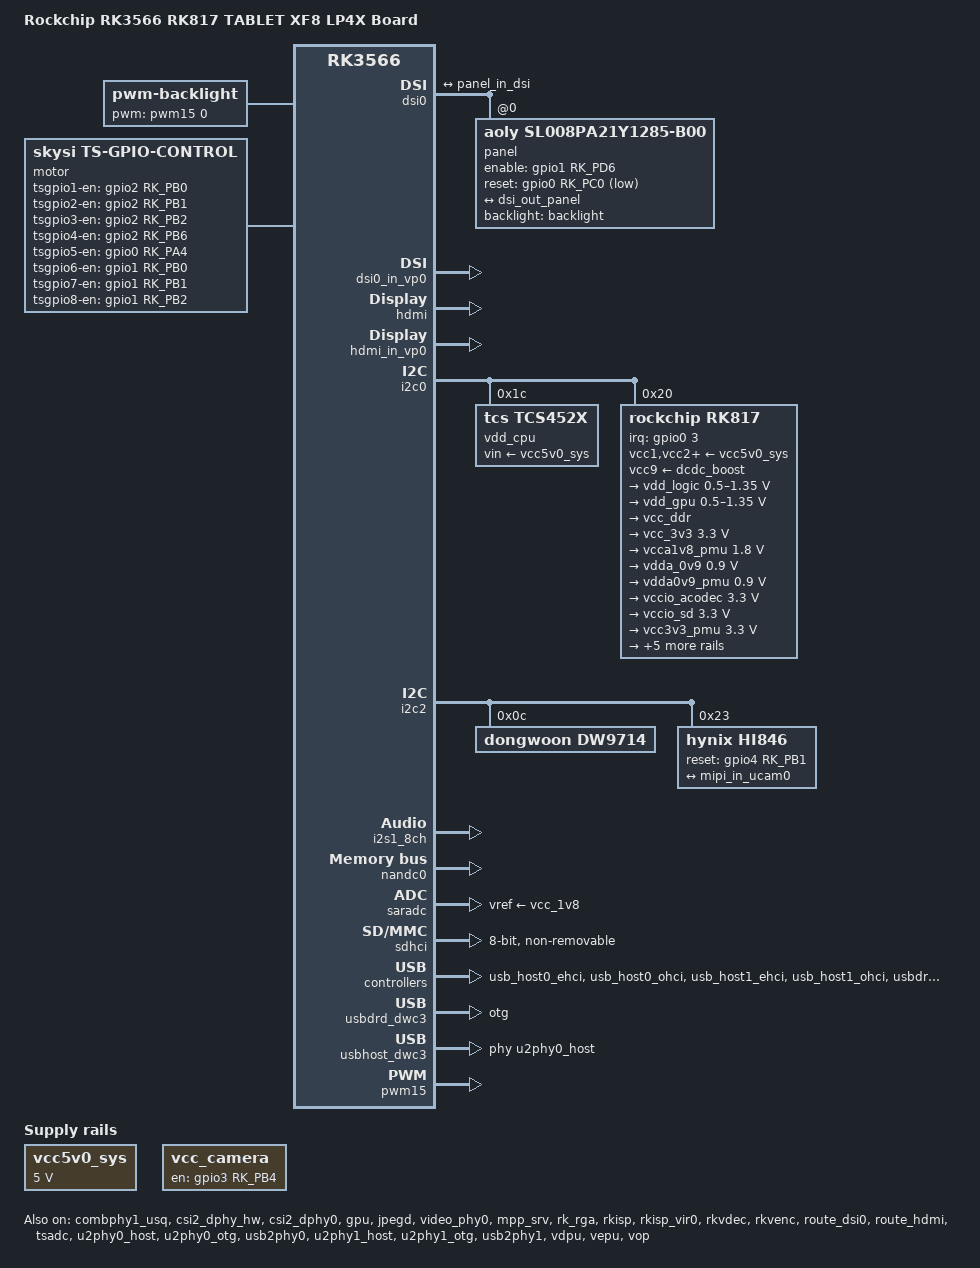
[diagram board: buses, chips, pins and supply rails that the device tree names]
// SPDX-License-Identifier: (GPL-2.0+ OR MIT)
/*
 * Copyright (c) 2020 Rockchip Electronics Co., Ltd.
 *
 */

/dts-v1/;

#include <dt-bindings/gpio/gpio.h>
#include <dt-bindings/pinctrl/rockchip.h>
#include <dt-bindings/input/rk-input.h>
#include <dt-bindings/sensor-dev.h>
#include <dt-bindings/display/drm_mipi_dsi.h>
#include "rk3566.dtsi"
#include "rk3568-android.dtsi"

/ {
	model = "Rockchip RK3566 RK817 TABLET XF8 LP4X Board";
	compatible = "rockchip,rk3566-rk817-tablet-xf8", "rockchip,rk3566";


	backlight: backlight {
		compatible = "pwm-backlight";
		pwms = <&pwm15 0 25000 0>;
		brightness-levels = <
			  0  20  20  21  21  22  22  23
			 23  24  24  25  25  26  26  27
			 27  28  28  29  29  30  30  31
			 31  32  32  33  33  34  34  35
			 35  36  36  37  37  38  38  39
			 40  41  42  43  44  45  46  47
			 48  49  50  51  52  53  54  55
			 56  57  58  59  60  61  62  63
			 64  65  66  67  68  69  70  71
			 72  73  74  75  76  77  78  79
			 80  81  82  83  84  85  86  87
			 88  89  90  91  92  93  94  95
			 96  97  98  99 100 101 102 103
			104 105 106 107 108 109 110 111
			112 113 114 115 116 117 118 119
			120 121 122 123 124 125 126 127
			128 129 130 131 132 133 134 135
			136 137 138 139 140 141 142 143
			144 145 146 147 148 149 150 151
			152 153 154 155 156 157 158 159
			160 161 162 163 164 165 166 167
			168 169 170 171 172 173 174 175
			176 177 178 179 180 181 182 183
			184 185 186 187 188 189 190 191
			192 193 194 195 196 197 198 199
			200 201 202 203 204 205 206 207
			208 209 210 211 212 213 214 215
			216 217 218 219 220 221 222 223
			224 225 226 227 228 229 230 231
			232 233 234 235 236 237 238 239
			240 241 242 243 244 245 246 247
			248 249 250 251 252 253 254 255
		>;
		default-brightness-level = <200>;
	};

	

	charge-animation {
		compatible = "rockchip,uboot-charge";
		rockchip,uboot-charge-on = <1>;
		rockchip,android-charge-on = <0>;
		rockchip,uboot-low-power-voltage = <3350>;
		rockchip,screen-on-voltage = <3400>;
		status = "disabled";
	};
      

	hdmi_sound: hdmi-sound {
		compatible = "simple-audio-card";
		simple-audio-card,format = "i2s";
		simple-audio-card,mclk-fs = <128>;
		simple-audio-card,name = "rockchip,hdmi";
		status = "okay";

		simple-audio-card,cpu {
				sound-dai = <&i2s0_8ch>;
		};
		simple-audio-card,codec {
				sound-dai = <&hdmi>;
		};
	};

	vcc5v0_sys: vcc5v0-sys {
		compatible = "regulator-fixed";
		regulator-name = "vcc5v0_sys";
		regulator-always-on;
		regulator-boot-on;
		regulator-min-microvolt = <5000000>;
		regulator-max-microvolt = <5000000>;
	};
      
	vcc_camera: vcc-camera-regulator {
		compatible = "regulator-fixed";
		gpio = <&gpio3 RK_PB4 GPIO_ACTIVE_HIGH>;
		pinctrl-names = "default";
		pinctrl-0 = <&camera_power>;
		regulator-name = "vcc_camera";
		enable-active-high;
		regulator-always-on;
		regulator-boot-on;
	};  

	rk817-sound {
		compatible = "simple-audio-card";
		simple-audio-card,format = "i2s";
		simple-audio-card,name = "rockchip,rk817-codec";
		simple-audio-card,mclk-fs = <256>;

		simple-audio-card,cpu {
			sound-dai = <&i2s1_8ch>;
		};
		simple-audio-card,codec {
			sound-dai = <&rk817_codec>;
		};
	};
	motor: pwm-motor{
	    status = "okay";
	    compatible = "skysi, ts-gpio-control";
		pinctrl-names = "default";
		pinctrl-0 = <&pinctrl_motor>;
		
		tsgpio1-en-gpios = <&gpio2 RK_PB0 GPIO_ACTIVE_HIGH>;    
		tsgpio2-en-gpios = <&gpio2 RK_PB1 GPIO_ACTIVE_HIGH>;   
		tsgpio3-en-gpios = <&gpio2 RK_PB2 GPIO_ACTIVE_HIGH>;    
		tsgpio4-en-gpios = <&gpio2 RK_PB6 GPIO_ACTIVE_HIGH>;    
		tsgpio5-en-gpios = <&gpio0 RK_PA4 GPIO_ACTIVE_HIGH>;  
		tsgpio6-en-gpios = <&gpio1 RK_PB0 GPIO_ACTIVE_HIGH>;    
		tsgpio7-en-gpios = <&gpio1 RK_PB1 GPIO_ACTIVE_HIGH>; 
		tsgpio8-en-gpios = <&gpio1 RK_PB2 GPIO_ACTIVE_HIGH>; 
		tsgpio9-en-gpios = <&gpio1 RK_PA0 GPIO_ACTIVE_HIGH>; 
		tsgpio10-en-gpios = <&gpio1 RK_PA1 GPIO_ACTIVE_HIGH>; 
		tsgpio11-en-gpios = <&gpio3 RK_PA2 GPIO_ACTIVE_HIGH>; 
		tsgpio12-en-gpios = <&gpio3 RK_PA3 GPIO_ACTIVE_HIGH>; 
		tsgpio13-en-gpios = <&gpio3 RK_PA4 GPIO_ACTIVE_HIGH>; 
		tsgpio14-en-gpios = <&gpio3 RK_PA5 GPIO_ACTIVE_HIGH>; 
		tsgpio15-en-gpios = <&gpio3 RK_PA6 GPIO_ACTIVE_HIGH>; 
		tsgpio16-en-gpios = <&gpio3 RK_PA7 GPIO_ACTIVE_HIGH>; 
		tsgpio17-en-gpios = <&gpio3 RK_PB0 GPIO_ACTIVE_HIGH>; 
		tsgpio18-en-gpios = <&gpio3 RK_PB1 GPIO_ACTIVE_HIGH>; 
		tsgpio19-en-gpios = <&gpio3 RK_PB2 GPIO_ACTIVE_HIGH>; 
		tsgpio20-en-gpios = <&gpio3 RK_PB5 GPIO_ACTIVE_HIGH>; 
		tsgpio21-en-gpios = <&gpio3 RK_PB6 GPIO_ACTIVE_HIGH>; 
		tsgpio22-en-gpios = <&gpio3 RK_PC0 GPIO_ACTIVE_HIGH>; 
		tsgpio23-en-gpios = <&gpio3 RK_PC1 GPIO_ACTIVE_HIGH>; 
		tsgpio24-en-gpios = <&gpio3 RK_PC2 GPIO_ACTIVE_HIGH>; 
		tsgpio25-en-gpios = <&gpio3 RK_PC3 GPIO_ACTIVE_HIGH>; 
		tsgpio26-en-gpios = <&gpio3 RK_PC6 GPIO_ACTIVE_HIGH>; 
		tsgpio27-en-gpios = <&gpio3 RK_PC7 GPIO_ACTIVE_HIGH>; 
		tsgpio28-en-gpios = <&gpio3 RK_PD0 GPIO_ACTIVE_HIGH>; 
		tsgpio29-en-gpios = <&gpio3 RK_PD1 GPIO_ACTIVE_HIGH>; 
		tsgpio30-en-gpios = <&gpio3 RK_PD2 GPIO_ACTIVE_HIGH>; 
		tsgpio31-en-gpios = <&gpio3 RK_PD3 GPIO_ACTIVE_HIGH>; 
		tsgpio32-en-gpios = <&gpio3 RK_PD4 GPIO_ACTIVE_HIGH>; 
		tsgpio33-en-gpios = <&gpio3 RK_PD5 GPIO_ACTIVE_HIGH>; 
		tsgpio34-en-gpios = <&gpio3 RK_PD6 GPIO_ACTIVE_HIGH>; 
		tsgpio35-en-gpios = <&gpio3 RK_PD7 GPIO_ACTIVE_HIGH>; 
		tsgpio36-en-gpios = <&gpio4 RK_PA0 GPIO_ACTIVE_HIGH>; 
		tsgpio37-en-gpios = <&gpio4 RK_PA1 GPIO_ACTIVE_HIGH>; 
		tsgpio38-en-gpios = <&gpio4 RK_PA2 GPIO_ACTIVE_HIGH>; 
		tsgpio39-en-gpios = <&gpio4 RK_PA3 GPIO_ACTIVE_HIGH>; 
		tsgpio40-en-gpios = <&gpio4 RK_PA4 GPIO_ACTIVE_HIGH>; 
		tsgpio41-en-gpios = <&gpio4 RK_PA5 GPIO_ACTIVE_HIGH>; 
		tsgpio42-en-gpios = <&gpio4 RK_PA6 GPIO_ACTIVE_HIGH>; 
		tsgpio43-en-gpios = <&gpio4 RK_PB0 GPIO_ACTIVE_HIGH>; 
		tsgpio44-en-gpios = <&gpio4 RK_PB2 GPIO_ACTIVE_HIGH>; 
		tsgpio45-en-gpios = <&gpio4 RK_PB3 GPIO_ACTIVE_HIGH>; 
        tsgpio46-en-gpios = <&gpio4 RK_PB6 GPIO_ACTIVE_HIGH>; 
		tsgpio47-en-gpios = <&gpio4 RK_PB7 GPIO_ACTIVE_HIGH>; 
		tsgpio48-en-gpios = <&gpio4 RK_PC0 GPIO_ACTIVE_HIGH>; 
		tsgpio49-en-gpios = <&gpio4 RK_PC1 GPIO_ACTIVE_HIGH>; 
		tsgpio50-en-gpios = <&gpio4 RK_PC2 GPIO_ACTIVE_HIGH>; 
		tsgpio51-en-gpios = <&gpio4 RK_PC3 GPIO_ACTIVE_HIGH>; 
        tsgpio52-en-gpios = <&gpio4 RK_PC4 GPIO_ACTIVE_HIGH>; 
		tsgpio53-en-gpios = <&gpio4 RK_PC5 GPIO_ACTIVE_HIGH>; 
		tsgpio54-en-gpios = <&gpio4 RK_PC6 GPIO_ACTIVE_HIGH>; 
		tsgpio55-en-gpios = <&gpio2 RK_PA3 GPIO_ACTIVE_HIGH>; 
		tsgpio56-en-gpios = <&gpio2 RK_PA4 GPIO_ACTIVE_HIGH>; 
        tsgpio57-en-gpios = <&gpio2 RK_PA5 GPIO_ACTIVE_HIGH>; 
		tsgpio58-en-gpios = <&gpio2 RK_PA6 GPIO_ACTIVE_HIGH>; 
		tsgpio59-en-gpios = <&gpio2 RK_PA7 GPIO_ACTIVE_HIGH>; 
		tsgpio60-en-gpios = <&gpio2 RK_PB3 GPIO_ACTIVE_HIGH>; 
        tsgpio61-en-gpios = <&gpio2 RK_PB4 GPIO_ACTIVE_HIGH>; 
		tsgpio62-en-gpios = <&gpio2 RK_PB5 GPIO_ACTIVE_HIGH>; 
		tsgpio63-en-gpios = <&gpio2 RK_PB7 GPIO_ACTIVE_HIGH>; 
		tsgpio64-en-gpios = <&gpio2 RK_PC1 GPIO_ACTIVE_HIGH>; 
		tsgpio65-en-gpios = <&gpio2 RK_PC2 GPIO_ACTIVE_HIGH>; 
        tsgpio66-en-gpios = <&gpio2 RK_PC3 GPIO_ACTIVE_HIGH>; 
		tsgpio67-en-gpios = <&gpio2 RK_PC4 GPIO_ACTIVE_HIGH>; 
		tsgpio68-en-gpios = <&gpio2 RK_PC5 GPIO_ACTIVE_HIGH>; 
		tsgpio69-en-gpios = <&gpio1 RK_PD7 GPIO_ACTIVE_HIGH>; 
		tsgpio70-en-gpios = <&gpio2 RK_PA0 GPIO_ACTIVE_HIGH>; 
		tsgpio71-en-gpios = <&gpio2 RK_PA1 GPIO_ACTIVE_HIGH>; 
		tsgpio72-en-gpios = <&gpio2 RK_PA2 GPIO_ACTIVE_HIGH>; 
	};
};

&combphy1_usq {
	rockchip,dis-u3otg1-port;
	status = "okay";
};

&cpu0 {
	cpu-supply = <&vdd_cpu>;
};

&csi2_dphy_hw {
	status = "okay";
};

&csi2_dphy0 {
	status = "okay";

	ports {
		#address-cells = <1>;
		#size-cells = <0>;
		port@0 {
			reg = <0>;
			#address-cells = <1>;
			#size-cells = <0>;

			mipi_in_ucam0: endpoint@0 {
				reg = <0>;
				remote-endpoint = <&hi846_out>;
				data-lanes = <1 2 3 4>;
			};
		};
		port@1 {
			reg = <1>;
			#address-cells = <1>;
			#size-cells = <0>;

			csidphy0_out: endpoint@0 {
				reg = <0>;
				remote-endpoint = <&isp0_in>;
			};
		};
	};
};

&dsi0 {
	status = "okay";
	rockchip,lane-rate = <1000>;
	panel@0 {
		compatible = "aoly,sl008pa21y1285-b00", "simple-panel-dsi";
		reg = <0>;

		backlight = <&backlight>;
		
		enable-gpios = <&gpio1 RK_PD6 GPIO_ACTIVE_HIGH>;
		
		reset-gpios = <&gpio0 RK_PC0 GPIO_ACTIVE_LOW>;

		pinctrl-names = "default";
		pinctrl-0 = <&lcd_enable_gpio>, <&lcd_rst_gpio>; // <&lcd_stanby_gpio>

		prepare-delay-ms = <120>;
		reset-delay-ms = <120>;
		init-delay-ms = <120>;
		stbyb-delay-ms = <120>;
		enable-delay-ms = <120>;
		disable-delay-ms = <120>;
		unprepare-delay-ms = <120>;

		width-mm = <229>;
		height-mm = <143>;

		dsi,flags = <(MIPI_DSI_MODE_VIDEO | MIPI_DSI_MODE_VIDEO_BURST |
			      MIPI_DSI_MODE_LPM | MIPI_DSI_MODE_EOT_PACKET)>;
		dsi,format = <MIPI_DSI_FMT_RGB888>;
		dsi,lanes = <4>;

		panel-init-sequence = [
			39 00 04 B9 F1 12 87
			39 00 04 B2 68 13 78
			39 00 0B B3 10 10 28 28 03 FF 00 00 00 00
			39 00 02 B4 80
			39 00 03 B5 08 08
			39 00 03 B6 7D 7D
			39 00 02 B8 75
			39 00 1C BA 33 81 05 F9 0E 0E 20 00 00 00 00 00 00 00 44 25 00 91 0A 00 00 01 4F 01 00 00 37
			39 00 02 BC 47
			39 00 04 BF 02 11 00
			39 00 0A C0 73 73 50 50 00 00 12 73 00
			39 00 12 C1 25 00 32 32 77 E1 77 77 CC CC FF FF 11 11 00 00 32
			39 00 0D C7 B0 00 0A 00 00 00 00 80 EC 47 00 5A
			39 00 05 C8 01 00 1E 43
			39 00 02 CC 0B
			39 00 03 D1 01 10
			39 00 23 E0 00 0A 0D 26 36 3F 42 35 08 0B 0C 13 14 13 14 11 18 00 0A 0D 26 36 3F 42 35 08 0B 0C 13 14 13 14 11 18
			39 00 08 E1 11 11 91 00 00 00 00
			39 00 0F E3 03 03 03 03 00 03 00 00 00 00 FF 84 C0 10
			39 00 40 E9 C8 10 08 00 00 A0 51 12 31 23 47 86 A0 51 47 08 00 00 60 00 00 00 00 00 60 00 00 00 88 88 80 2F 88 88 88 88 8F 46 02 88 88 81 3F 88 88 88 88 8F 57 13 00 00 00 00 00 00 00 00 00 00 00 00 00
			39 00 3E EA 00 1A 00 00 00 00 02 00 00 00 00 00 8F 88 83 18 88 88 88 88 8F 31 75 8F 88 82 08 88 88 88 88 8F 20 64 23 10 00 00 A8 00 00 00 00 00 00 00 00 00 00 00 00 00 00 00 00 00 00 00 00 00 00
			
			05 78 01 11
			05 32 01 29
		];

		panel-exit-sequence = [
			05 dc 01 28
			05 78 01 10
		];

		display-timings {
			native-mode = <&timing0>;

			timing0: timing0 {
				clock-frequency = <75000000>;
				hactive = <720>;
				vactive = <1440>;

				hsync-len = <20>;//19
				hback-porch = <55>;//40
				hfront-porch = <50>;//123

				vsync-len = <6>;
				vback-porch = <14>;
				vfront-porch = <17>;

				hsync-active = <0>;
				vsync-active = <0>;
				de-active = <0>;
				pixelclk-active = <0>;
			};
		};

		ports {
			#address-cells = <1>;
			#size-cells = <0>;

			port@0 {
				reg = <0>;
				panel_in_dsi: endpoint {
					remote-endpoint = <&dsi_out_panel>;
				};
			};
		};
	};

	ports {
		#address-cells = <1>;
		#size-cells = <0>;

		port@1 {
			reg = <1>;
			dsi_out_panel: endpoint {
				remote-endpoint = <&panel_in_dsi>;
			};
		};
	};

};

&dsi0_in_vp0 {
	status = "okay";
};

&dsi0_in_vp1 {
	status = "disabled";
};

&gpu {
	mali-supply = <&vdd_gpu>;
	status = "okay";
};

&hdmi {
	status = "okay";
};

&hdmi_in_vp0 {
	status = "okay";
};

&hdmi_in_vp1 {
	status = "disabled";
};

&hdmi_sound {
	status = "disabled";
};


&i2c0 {
	status = "okay";

	vdd_cpu: tcs4525@1c {
		compatible = "tcs,tcs452x";
		reg = <0x1c>;
		vin-supply = <&vcc5v0_sys>;
		regulator-compatible = "fan53555-reg";
		regulator-name = "vdd_cpu";
		regulator-min-microvolt = <712500>;
		regulator-max-microvolt = <1390000>;
		regulator-init-microvolt = <900000>;
		regulator-ramp-delay = <2300>;
		fcs,suspend-voltage-selector = <1>;
		regulator-boot-on;
		regulator-always-on;
		regulator-state-mem {
			regulator-off-in-suspend;
		};
	};

	rk817: pmic@20 {
		compatible = "rockchip,rk817";
		reg = <0x20>;
		interrupt-parent = <&gpio0>;
		interrupts = <3 IRQ_TYPE_LEVEL_LOW>;

		//pinctrl-names = "default", "pmic-sleep",
		//		"pmic-power-off", "pmic-reset";
		
		pinctrl-names = "default";
		
		

		pinctrl-0 = <&pmic_int>;
		//pinctrl-1 = <&soc_slppin_slp>, <&rk817_slppin_slp>;
		//pinctrl-2 = <&soc_slppin_gpio>, <&rk817_slppin_pwrdn>;
		//pinctrl-3 = <&soc_slppin_gpio>, <&rk817_slppin_rst>;
		rockchip,system-power-controller;
		wakeup-source;
		#clock-cells = <1>;
		clock-output-names = "rk808-clkout1", "rk808-clkout2";
		//fb-inner-reg-idxs = <2>;
		/* 1: rst regs (default in codes), 0: rst the pmic */
		pmic-reset-func = <0>;

		vcc1-supply = <&vcc5v0_sys>;
		vcc2-supply = <&vcc5v0_sys>;
		vcc3-supply = <&vcc5v0_sys>;
		vcc4-supply = <&vcc5v0_sys>;
		vcc5-supply = <&vcc5v0_sys>;
		vcc6-supply = <&vcc5v0_sys>;
		vcc7-supply = <&vcc5v0_sys>;
		vcc8-supply = <&vcc5v0_sys>;
		vcc9-supply = <&dcdc_boost>;

		pwrkey {
			status = "okay";
		};

		pinctrl_rk8xx: pinctrl_rk8xx {
			gpio-controller;
			#gpio-cells = <2>;

			rk817_slppin_null: rk817_slppin_null {
				pins = "gpio_slp";
				function = "pin_fun0";
			};

			rk817_slppin_slp: rk817_slppin_slp {
				pins = "gpio_slp";
				function = "pin_fun1";
			};

			rk817_slppin_pwrdn: rk817_slppin_pwrdn {
				pins = "gpio_slp";
				function = "pin_fun2";
			};

			rk817_slppin_rst: rk817_slppin_rst {
				pins = "gpio_slp";
				function = "pin_fun3";
			};
		};

		regulators {
			vdd_logic: DCDC_REG1 {
				regulator-always-on;
				regulator-boot-on;
				regulator-min-microvolt = <500000>;
				regulator-max-microvolt = <1350000>;
				regulator-init-microvolt = <900000>;
				regulator-ramp-delay = <6001>;
				regulator-initial-mode = <0x2>;
				regulator-name = "vdd_logic";
				regulator-state-mem {
					regulator-off-in-suspend;
					regulator-suspend-microvolt = <900000>;
				};
			};

			vdd_gpu: DCDC_REG2 {
				regulator-always-on;
				regulator-boot-on;
				regulator-min-microvolt = <500000>;
				regulator-max-microvolt = <1350000>;
				regulator-init-microvolt = <900000>;
				regulator-ramp-delay = <6001>;
				regulator-initial-mode = <0x2>;
				regulator-name = "vdd_gpu";
				regulator-state-mem {
					regulator-off-in-suspend;
				};
			};

			vcc_ddr: DCDC_REG3 {
				regulator-always-on;
				regulator-boot-on;
				regulator-initial-mode = <0x2>;
				regulator-name = "vcc_ddr";
				regulator-state-mem {
					regulator-on-in-suspend;
				};
			};

			vcc_3v3: DCDC_REG4 {
				regulator-always-on;
				regulator-boot-on;
				regulator-min-microvolt = <3300000>;
				regulator-max-microvolt = <3300000>;
				regulator-initial-mode = <0x2>;
				regulator-name = "vcc_3v3";
				regulator-state-mem {
					regulator-off-in-suspend;
				};
			};

			vcca1v8_pmu: LDO_REG1 {
				regulator-always-on;
				regulator-boot-on;
				regulator-min-microvolt = <1800000>;
				regulator-max-microvolt = <1800000>;
				regulator-name = "vcca1v8_pmu";
				regulator-state-mem {
					regulator-on-in-suspend;
					regulator-suspend-microvolt = <1800000>;
				};
			};

			vdda_0v9: LDO_REG2 {
				regulator-always-on;
				regulator-boot-on;
				regulator-min-microvolt = <900000>;
				regulator-max-microvolt = <900000>;
				regulator-name = "vdda_0v9";
				regulator-state-mem {
					regulator-off-in-suspend;
				};
			};

			vdda0v9_pmu: LDO_REG3 {
				regulator-always-on;
				regulator-boot-on;
				regulator-min-microvolt = <900000>;
				regulator-max-microvolt = <900000>;
				regulator-name = "vdda0v9_pmu";
				regulator-state-mem {
					regulator-on-in-suspend;
					regulator-suspend-microvolt = <900000>;
				};
			};

			vccio_acodec: LDO_REG4 {
				regulator-always-on;
				regulator-boot-on;
				regulator-min-microvolt = <3300000>;
				regulator-max-microvolt = <3300000>;
				regulator-name = "vccio_acodec";
				regulator-state-mem {
					regulator-off-in-suspend;
				};
			};

			vccio_sd: LDO_REG5 {
				regulator-always-on;
				regulator-boot-on;
				regulator-min-microvolt = <3300000>;
				regulator-max-microvolt = <3300000>;
				regulator-name = "vccio_sd";
				regulator-state-mem {
					regulator-off-in-suspend;
				};
			};

			vcc3v3_pmu: LDO_REG6 {
				regulator-always-on;
				regulator-boot-on;
				regulator-min-microvolt = <3300000>;
				regulator-max-microvolt = <3300000>;
				regulator-name = "vcc3v3_pmu";
				regulator-state-mem {
					regulator-on-in-suspend;
					regulator-suspend-microvolt = <3300000>;
				};
			};

			vcc_1v8: LDO_REG7 {
				regulator-always-on;
				regulator-boot-on;
				regulator-min-microvolt = <1800000>;
				regulator-max-microvolt = <1800000>;
				regulator-name = "vcc_1v8";
				regulator-state-mem {
					regulator-off-in-suspend;
				};
			};

			vcc1v8_dvp: LDO_REG8 {
				regulator-always-on;
				regulator-boot-on;
				regulator-min-microvolt = <1800000>;
				regulator-max-microvolt = <1800000>;
				regulator-name = "vcc1v8_dvp";
				regulator-state-mem {
					regulator-off-in-suspend;
				};
			};

			vcc2v8_dvp: LDO_REG9 {
				regulator-always-on;
				regulator-boot-on;
				regulator-min-microvolt = <2800000>;
				regulator-max-microvolt = <2800000>;
				regulator-name = "vcc2v8_dvp";
				regulator-state-mem {
					regulator-off-in-suspend;
				};
			};

			dcdc_boost: BOOST {
				regulator-always-on;
				regulator-boot-on;
				regulator-min-microvolt = <4700000>;
				regulator-max-microvolt = <5400000>;
				regulator-name = "boost";
				regulator-state-mem {
					regulator-off-in-suspend;
				};
			};

			otg_switch: OTG_SWITCH {
				regulator-name = "otg_switch";
				regulator-state-mem {
					regulator-off-in-suspend;
				};
			};
		};

		battery {
			compatible = "rk817,battery";
			ocv_table = <3400 3513 3578 3687 3734 3752 3763
				     3766 3771 3784 3804 3836 3885 3925
				     3962 4005 4063 4114 4169 4227 4303>;
			design_capacity = <5000>;
			design_qmax = <5500>;
			bat_res = <100>;
			sleep_enter_current = <150>;
			sleep_exit_current = <180>;
			sleep_filter_current = <100>;
			power_off_thresd = <3450>;
			zero_algorithm_vol = <3850>;
			max_soc_offset = <60>;
			monitor_sec = <5>;
			sample_res = <10>;
			virtual_power = <0>;
            status = "disabled";
		};

		charger {
			compatible = "rk817,charger";
			min_input_voltage = <4500>;
			max_input_current = <1500>;
			max_chrg_current = <2000>;
			max_chrg_voltage = <4300>;
			chrg_term_mode = <0>;
			chrg_finish_cur = <300>;
			virtual_power = <0>;
			dc_det_adc = <0>;
			extcon = <&usb2phy0>;
            status = "disabled";
		};

		rk817_codec: codec {
			#sound-dai-cells = <0>;
			compatible = "rockchip,rk817-codec";
			clocks = <&cru I2S1_MCLKOUT>;
			clock-names = "mclk";
			assigned-clocks = <&cru I2S1_MCLKOUT>, <&cru I2S1_MCLK_TX_IOE>;
			assigned-clock-rates = <12288000>;
			assigned-clock-parents = <&cru I2S1_MCLKOUT_TX>, <&cru I2S1_MCLKOUT_TX>;
			pinctrl-names = "default";
			pinctrl-0 = <&i2s1m0_mclk>;
			hp-volume = <20>;
			spk-volume = <0x6f>;
			out-l2spk-r2hp;
			spk-ctl-gpios = <&gpio3 RK_PB7 GPIO_ACTIVE_LOW>;
			status = "okay";
		};
	};
};

&i2c2 {
	status = "okay";
	pinctrl-0 = <&i2c2m1_xfer>;

	dw9714: dw9714@c {
		compatible = "dongwoon,dw9714";
		status = "okay";
		reg = <0x0c>;
		rockchip,camera-module-index = <0>;
		rockchip,vcm-start-current = <10>;
		rockchip,vcm-rated-current = <85>;
		rockchip,vcm-step-mode = <5>;
		rockchip,camera-module-facing = "back";
	};

	hi846: hi846@23 {
		status = "okay";
		compatible = "hynix,hi846";
		reg = <0x23>; 
		clocks = <&cru CLK_CAM0_OUT>; 
		clock-names = "xvclk"; 
		power-domains = <&power RK3568_PD_VI>;
		pinctrl-names = "rockchip,camera_default", "rockchip,camera_sleep";
		pinctrl-0 = <&cam_clkout0>;
		reset-gpios = <&gpio4 RK_PB1 GPIO_ACTIVE_HIGH>;  //CAMERAB_RST_L
		//pwdn-gpios = <&gpio3  RK_PD0  GPIO_ACTIVE_HIGH>; //CAMERAB_PDN_L 
		rockchip,camera-module-index = <0>;
		rockchip,camera-module-facing = "back";
		rockchip,camera-module-name = "KYT-8648-V1";
		rockchip,camera-module-lens-name = "SKYSI";
		lens-focus = <&dw9714>;
		port {
			hi846_out: endpoint {
				remote-endpoint = <&mipi_in_ucam0>;
				data-lanes = <1 2 3 4>;
			};
		};
	};
};





&i2s1_8ch {
	status = "okay";
	rockchip,clk-trcm = <1>;
	pinctrl-names = "default";
	pinctrl-0 = <&i2s1m0_sclktx
		     &i2s1m0_lrcktx
		     &i2s1m0_sdi0
		     &i2s1m0_sdo0>;
};

&jpegd {
	status = "okay";
};

&jpegd_mmu {
	status = "okay";
};

&video_phy0 {
	status = "okay";
};

&mpp_srv {
	status = "okay";
};

&nandc0 {
	status = "okay";
};


&pmu_io_domains {
	status = "okay";
	pmuio1-supply = <&vcc3v3_pmu>;
	pmuio2-supply = <&vcca1v8_pmu>;
	vccio1-supply = <&vccio_acodec>;
	vccio3-supply = <&vccio_sd>;
	vccio4-supply = <&vcc_3v3>;
	vccio5-supply = <&vcc_3v3>;
	vccio6-supply = <&vcc_3v3>;
	vccio7-supply = <&vcc_3v3>;
};



&rk_rga {
	status = "okay";
};

&rkisp {
	status = "okay";
};

&rkisp_mmu {
	status = "okay";
};

&rkisp_vir0 {
	status = "okay";

	port {
		#address-cells = <1>;
		#size-cells = <0>;

		isp0_in: endpoint@0 {
			reg = <0>;
			remote-endpoint = <&csidphy0_out>;
		};
	};
};

&rkvdec {
	status = "okay";
};

&rkvdec_mmu {
	status = "okay";
};

&rkvenc {
	status = "okay";
};

&rkvenc_mmu {
	status = "okay";
};

&route_dsi0 {
	status = "okay";
};

&route_hdmi {
	status = "okay";
	connect = <&vp0_out_hdmi>;
};

&saradc {
	status = "okay";
	vref-supply = <&vcc_1v8>;
};

&sdhci {
	bus-width = <8>;
	supports-emmc;
	non-removable;
	max-frequency = <200000000>;
	status = "okay";
};




&tsadc {
	status = "okay";
};

&u2phy0_host {
//	phy-supply = <&vcc5v0_host>;
	status = "okay";
};

&u2phy0_otg {
	status = "okay";
};

&usb2phy0 {
	status = "okay";
};

&u2phy1_host {
	status = "okay";
};

&u2phy1_otg {
	status = "okay";
};

&usb2phy1 {
	status = "okay";
};

&usb_host0_ehci {
	status = "okay";
};

&usb_host0_ohci {
	status = "okay";
};

&usb_host1_ehci {
	status = "okay";
};

&usb_host1_ohci {
	status = "okay";
};
&usbdrd_dwc3 {
	dr_mode = "otg";
	status = "okay";
};

&usbdrd30 {
	status = "okay";
};

&usbhost30 {
	status = "okay";
};

&usbhost_dwc3 {
	phys = <&u2phy0_host>;
	phy-names = "usb2-phy";
	maximum-speed = "high-speed";
	status = "okay";
};

&vdpu {
	status = "okay";
};

&vdpu_mmu {
	status = "okay";
};

&vepu {
	status = "okay";
};

&vepu_mmu {
	status = "okay";
};

&vop {
	status = "okay";
};

&vop_mmu {
	status = "okay";
};

&pwm15 {
	status = "okay";
	pinctrl-0 = <&pwm15m0_pins>;
};


&pinctrl {
	cam {
		cam_clkout0: cam-clkout0 {
			rockchip,pins =
				/* cam_clkout0 */
				<4 RK_PA7 1 &pcfg_pull_none>;
		};

		camera_power: camera-power {
			rockchip,pins =
				<3 RK_PB4 RK_FUNC_GPIO &pcfg_pull_none>;
		};
	};

	lcd {
		lcd_rst_gpio: lcd-rst-gpio {
			rockchip,pins = <0 RK_PC0 RK_FUNC_GPIO &pcfg_pull_none>;
		};

		lcd_enable_gpio: lcd-enable-gpio {
			rockchip,pins = <1 RK_PD6 RK_FUNC_GPIO &pcfg_pull_none>;
		};
	};

	pmic {
		pmic_int: pmic_int {
			rockchip,pins =
				<0 RK_PA3 RK_FUNC_GPIO &pcfg_pull_up>;
		};

		soc_slppin_gpio: soc_slppin_gpio {
			rockchip,pins =
				<0 RK_PA2 RK_FUNC_GPIO &pcfg_output_low_pull_down>;
		};

		soc_slppin_slp: soc_slppin_slp {
			rockchip,pins =
				<0 RK_PA2 1 &pcfg_pull_up>;
		};

		soc_slppin_rst: soc_slppin_rst {
			rockchip,pins =
				<0 RK_PA2 2 &pcfg_pull_none>;
		};
	};

	motoren{
		pinctrl_motor:pinctrl_motor{
			rockchip,pins = 
			<2 RK_PB0 RK_FUNC_GPIO &pcfg_pull_up>,
			<2 RK_PB1 RK_FUNC_GPIO &pcfg_pull_up>,
			<2 RK_PB2 RK_FUNC_GPIO &pcfg_pull_up>,
			<2 RK_PB6 RK_FUNC_GPIO &pcfg_pull_up>,
			<0 RK_PA4 RK_FUNC_GPIO &pcfg_pull_up>,
			<1 RK_PB0 RK_FUNC_GPIO &pcfg_pull_up>,
			<1 RK_PB1 RK_FUNC_GPIO &pcfg_pull_up>,
			<1 RK_PB2 RK_FUNC_GPIO &pcfg_pull_up>,
			<1 RK_PA0 RK_FUNC_GPIO &pcfg_pull_up>,
			<1 RK_PA1 RK_FUNC_GPIO &pcfg_pull_up>,
			<3 RK_PA2 RK_FUNC_GPIO &pcfg_pull_up>,
			<3 RK_PA3 RK_FUNC_GPIO &pcfg_pull_up>,
			<3 RK_PA4 RK_FUNC_GPIO &pcfg_pull_up>,
			<3 RK_PA5 RK_FUNC_GPIO &pcfg_pull_up>,
			<3 RK_PA6 RK_FUNC_GPIO &pcfg_pull_up>,
			<3 RK_PA7 RK_FUNC_GPIO &pcfg_pull_up>,
			<3 RK_PB0 RK_FUNC_GPIO &pcfg_pull_up>,
			<3 RK_PB1 RK_FUNC_GPIO &pcfg_pull_up>,
			<3 RK_PB2 RK_FUNC_GPIO &pcfg_pull_up>,
			<3 RK_PB5 RK_FUNC_GPIO &pcfg_pull_up>,
			<3 RK_PB6 RK_FUNC_GPIO &pcfg_pull_up>,
			<3 RK_PC0 RK_FUNC_GPIO &pcfg_pull_up>,
			<3 RK_PC1 RK_FUNC_GPIO &pcfg_pull_up>,
			<3 RK_PC2 RK_FUNC_GPIO &pcfg_pull_up>,
			<3 RK_PC3 RK_FUNC_GPIO &pcfg_pull_up>,
            <3 RK_PC6 RK_FUNC_GPIO &pcfg_pull_up>,
			<3 RK_PC7 RK_FUNC_GPIO &pcfg_pull_up>,
			<3 RK_PD0 RK_FUNC_GPIO &pcfg_pull_up>,
			<3 RK_PD1 RK_FUNC_GPIO &pcfg_pull_up>,
			<3 RK_PD2 RK_FUNC_GPIO &pcfg_pull_up>,
			<3 RK_PD3 RK_FUNC_GPIO &pcfg_pull_up>,
			<3 RK_PD4 RK_FUNC_GPIO &pcfg_pull_up>,
			<3 RK_PD5 RK_FUNC_GPIO &pcfg_pull_up>,
			<3 RK_PD6 RK_FUNC_GPIO &pcfg_pull_up>,
			<3 RK_PD7 RK_FUNC_GPIO &pcfg_pull_up>,
			<4 RK_PA0 RK_FUNC_GPIO &pcfg_pull_up>,
			<4 RK_PA1 RK_FUNC_GPIO &pcfg_pull_up>,
			<4 RK_PA2 RK_FUNC_GPIO &pcfg_pull_up>,
			<4 RK_PA3 RK_FUNC_GPIO &pcfg_pull_up>,
			<4 RK_PA4 RK_FUNC_GPIO &pcfg_pull_up>,
			<4 RK_PA5 RK_FUNC_GPIO &pcfg_pull_up>,
			<4 RK_PA6 RK_FUNC_GPIO &pcfg_pull_up>,
			<4 RK_PB0 RK_FUNC_GPIO &pcfg_pull_up>,
			<4 RK_PB2 RK_FUNC_GPIO &pcfg_pull_up>,
			<4 RK_PB3 RK_FUNC_GPIO &pcfg_pull_up>,
			<4 RK_PB6 RK_FUNC_GPIO &pcfg_pull_up>,
			<4 RK_PB7 RK_FUNC_GPIO &pcfg_pull_up>,
			<4 RK_PC0 RK_FUNC_GPIO &pcfg_pull_up>,
			<4 RK_PC1 RK_FUNC_GPIO &pcfg_pull_up>,
			<4 RK_PC2 RK_FUNC_GPIO &pcfg_pull_up>,
			<4 RK_PC3 RK_FUNC_GPIO &pcfg_pull_up>,
			<4 RK_PC4 RK_FUNC_GPIO &pcfg_pull_up>,
			<4 RK_PC5 RK_FUNC_GPIO &pcfg_pull_up>,
			<4 RK_PC6 RK_FUNC_GPIO &pcfg_pull_up>,
			<2 RK_PA3 RK_FUNC_GPIO &pcfg_pull_up>,
			<2 RK_PA4 RK_FUNC_GPIO &pcfg_pull_up>,
			<2 RK_PA5 RK_FUNC_GPIO &pcfg_pull_up>,
			<2 RK_PA6 RK_FUNC_GPIO &pcfg_pull_up>,
			<2 RK_PA7 RK_FUNC_GPIO &pcfg_pull_up>,
			<2 RK_PB3 RK_FUNC_GPIO &pcfg_pull_up>,
			<2 RK_PB4 RK_FUNC_GPIO &pcfg_pull_up>,
			<2 RK_PB5 RK_FUNC_GPIO &pcfg_pull_up>,
			<2 RK_PB7 RK_FUNC_GPIO &pcfg_pull_up>,
			<2 RK_PC1 RK_FUNC_GPIO &pcfg_pull_up>,
			<2 RK_PC2 RK_FUNC_GPIO &pcfg_pull_up>,
			<2 RK_PC3 RK_FUNC_GPIO &pcfg_pull_up>,
			<2 RK_PC4 RK_FUNC_GPIO &pcfg_pull_up>,
			<2 RK_PC5 RK_FUNC_GPIO &pcfg_pull_up>,
			<1 RK_PD7 RK_FUNC_GPIO &pcfg_pull_up>,
			<2 RK_PA0 RK_FUNC_GPIO &pcfg_pull_up>,
			<2 RK_PA1 RK_FUNC_GPIO &pcfg_pull_up>,
			<2 RK_PA2 RK_FUNC_GPIO &pcfg_pull_up>;
			
			
		
			
			
			
			
			

			
			
			
			



			
			
			

			
		
			
			

			
			
			
			
			
		
		};
	};


};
